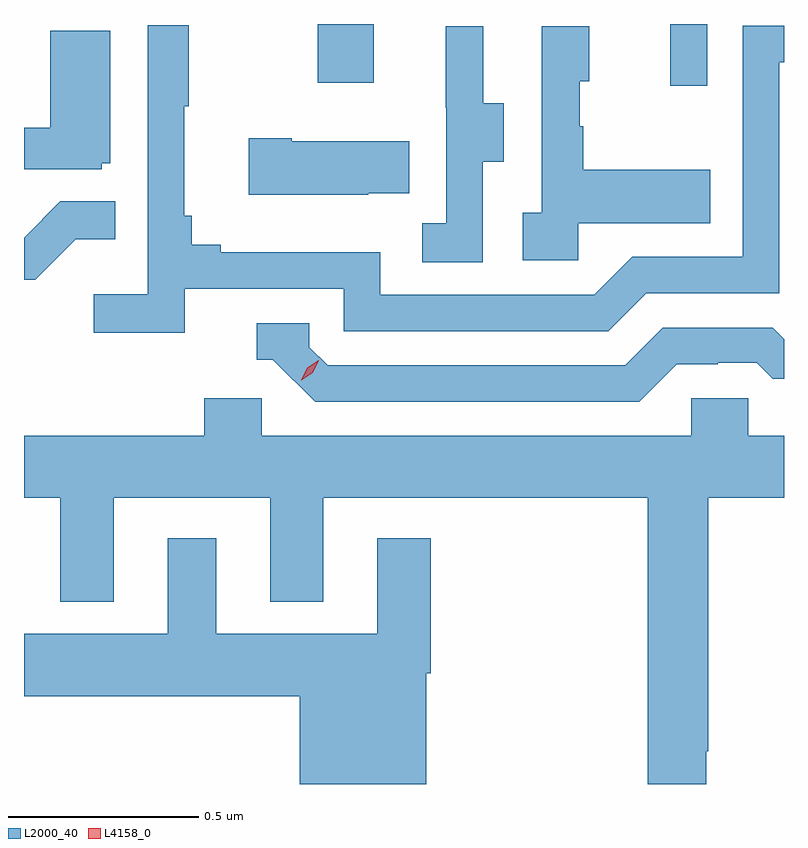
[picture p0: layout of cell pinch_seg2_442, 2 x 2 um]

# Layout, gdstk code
import gdstk
lib = gdstk.Library(unit=1e-6, precision=1e-09)
def R(c, l, rs):  # rectangles x0, y0, x1, y1
    for r in rs: c.add(gdstk.rectangle(r[:2], r[2:], *l))
def P(c, l, *ps):  # polygons
    for p in ps: c.add(gdstk.Polygon(p, *l))
L2000_40 = (2000, 40)
L4158_0 = (4158, 0)

pinch_seg2_442 = lib.new_cell('pinch_seg2_442')
R(pinch_seg2_442, L2000_40, [(914.894,624.744,914.991,624.907), (913.966,624.753,914.113,624.907)])
P(pinch_seg2_442, L2000_40, [(913.616,624.21),(914.034,624.21),(914.034,624.099),(914.731,624.099),(914.83,624.198),(915.18,624.198),(915.18,624.807),(915.193,624.807),(915.193,624.903),(915.084,624.903),(915.084,624.294),(914.793,624.294),(914.694,624.195),(914.13,624.195),(914.13,624.307),(913.711,624.307),(913.711,624.326),(913.634,624.326),(913.634,624.403),(913.615,624.403),(913.615,624.691),(913.627,624.691),(913.627,624.904),(913.518,624.904),(913.518,624.196),(913.377,624.196),(913.377,624.094),(913.616,624.094)],
  [(914.4,624.544),(914.455,624.544),(914.455,624.699),(914.401,624.699),(914.401,624.901),(914.303,624.901),(914.303,624.687),(914.304,624.687),(914.304,624.383),(914.241,624.383),(914.241,624.28),(914.4,624.28)],
  [(914.652,624.383),(914.999,624.383),(914.999,624.523),(914.665,624.523),(914.665,624.638),(914.655,624.638),(914.655,624.756),(914.68,624.756),(914.68,624.901),(914.556,624.901),(914.556,624.41),(914.505,624.41),(914.505,624.285),(914.652,624.285)],
  [(913.398,624.54),(913.42,624.54),(913.42,624.889),(913.262,624.889),(913.262,624.634),(913.193,624.634),(913.193,624.525),(913.398,624.525)],
  [(914.099,624.461),(914.207,624.461),(914.207,624.598),(913.897,624.598),(913.897,624.606),(913.785,624.606),(913.785,624.458),(914.099,624.458)],
  [(913.329,624.341),(913.433,624.341),(913.433,624.44),(913.289,624.44),(913.193,624.344),(913.193,624.234),(913.222,624.234)],
  [(914.911,624.012),(915.018,624.012),(915.018,624.015),(915.121,624.015),(915.163,623.973),(915.193,623.973),(915.193,624.078),(915.163,624.108),(914.874,624.108),(914.775,624.009),(913.992,624.009),(913.944,624.057),(913.944,624.12),(913.805,624.12),(913.805,624.024),(913.848,624.024),(913.959,623.913),(914.812,623.913)],
  [(914.989,622.993),(914.994,622.993),(914.994,623.66),(915.193,623.66),(915.193,623.824),(915.099,623.824),(915.099,623.922),(914.949,623.922),(914.949,623.824),(913.818,623.824),(913.818,623.922),(913.667,623.922),(913.667,623.824),(913.193,623.824),(913.193,623.66),(913.289,623.66),(913.289,623.387),(913.429,623.387),(913.429,623.66),(913.841,623.66),(913.841,623.387),(913.981,623.387),(913.981,623.66),(914.834,623.66),(914.834,622.907),(914.989,622.907)],
  [(914.251,623.198),(914.264,623.198),(914.264,623.554),(914.123,623.554),(914.123,623.302),(913.699,623.302),(913.699,623.554),(913.571,623.554),(913.571,623.302),(913.193,623.302),(913.193,623.138),(913.919,623.138),(913.919,622.907),(914.251,622.907)])
P(pinch_seg2_442, L4158_0, [(913.922,623.97),(913.922,623.97),(913.938,624.003),(913.968,624.022),(913.969,624.022),(913.969,624.022),(913.953,623.989),(913.922,623.97)])

lib.write_gds('pinch_seg2_442.gds')
